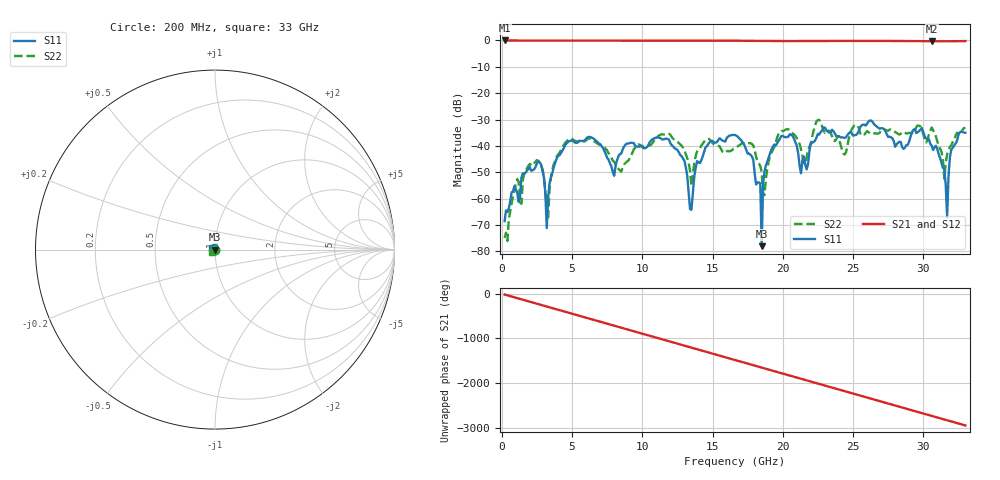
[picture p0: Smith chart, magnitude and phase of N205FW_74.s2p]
# GHZ S RI R 50
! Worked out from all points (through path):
!   329 points, 200 MHz to 33 GHz, reference 50 ohm
!   highest |S21| = -0.02 dB at 200 MHz (marker M1); lowest = -0.3 dB at 30.6 GHz (marker M2)
!   group delay of S21, straight-line fit = 248 ps
!   lowest |S11| = -78.0 dB at 18.5 GHz (marker M3), VSWR 1.00, Z = 50 + j0.00893 ohm
!   |S11| at or under -10 dB: start of sweep to end of sweep
!   |S22| runs from -76.1 to -30.1 dB; largest |S21 - S12| = 0.0022
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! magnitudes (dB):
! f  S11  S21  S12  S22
! 200 MHz  -68.5  0.0  0.0  -74.9
! 2.6 GHz  -45.8  -0.1  -0.1  -45.7
! 3.2 GHz  -71.2  -0.1  -0.1  -64.5
! 3.9 GHz  -44.8  -0.1  -0.1  -44.2
! 5.7 GHz  -38.2  -0.1  -0.1  -38.7
! 8 GHz  -51.3  -0.1  -0.1  -46.0
! 11.2 GHz  -36.9  -0.2  -0.2  -36.0
! 13 GHz  -45.6  -0.2  -0.2  -41.7
! 13.5 GHz  -64.2  -0.2  -0.2  -55.3
! 13.9 GHz  -45.7  -0.2  -0.2  -42.2
! 16.6 GHz  -35.9  -0.1  -0.1  -40.9
! 18.4 GHz  -54.3  -0.2  -0.2  -47.6
! 18.5 GHz  -78.0  -0.2  -0.2  -50.0
! 18.6 GHz  -54.2  -0.2  -0.2  -57.8
! 19.2 GHz  -41.3  -0.2  -0.2  -42.5
! 22.1 GHz  -38.8  -0.3  -0.3  -36.4
! 27.6 GHz  -36.6  -0.2  -0.2  -33.8
! 30.6 GHz  -39.9  -0.3  -0.3  -33.0
! 31.5 GHz  -48.7  -0.3  -0.3  -52.5
! 31.7 GHz  -67.0  -0.3  -0.3  -43.1
! 32 GHz  -41.3  -0.3  -0.3  -39.8
! 33 GHz  -35.0  -0.3  -0.3  -33.2
